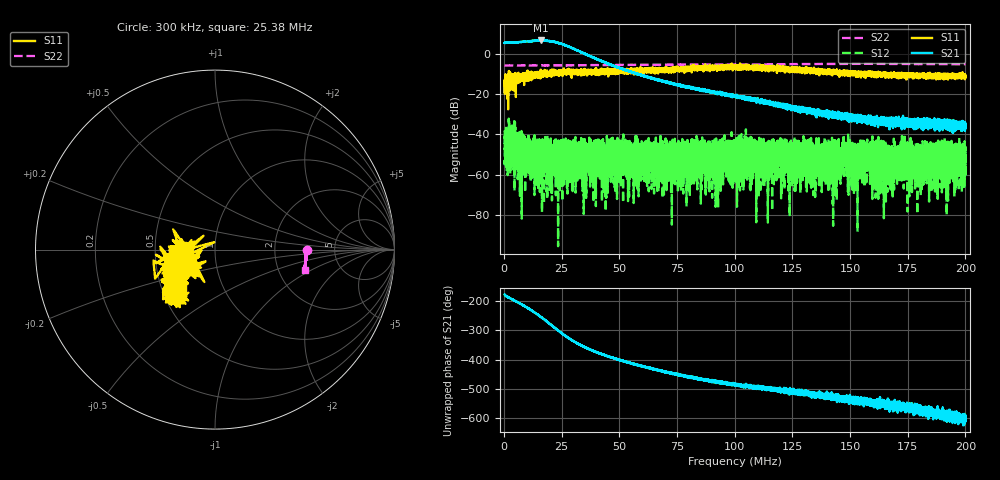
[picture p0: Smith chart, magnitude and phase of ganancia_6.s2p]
# Hz S DB R 50
! CMT, M5065, 19127446, 24.2.4/2
! Date: 11/8/2024 4:51:30 PM
! Data: Format (Calibration Info)
! Freq	S11:dB/Ang(F2)	S21:dB/Ang(F2)	S12:dB/Ang(F2)	S22:dB/Ang(F2)
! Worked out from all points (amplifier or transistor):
!   9000 points, 300 kHz to 200 MHz, reference 50 ohm
!   highest |S21| = 6.5 dB at 15.99 MHz (marker M1)
!   |S21| within 3 dB of that: start of sweep to 28.01 MHz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
!   unconditionally stable (mu >= 1): start of sweep to end of sweep
!   at 33.59 MHz: K = 138.04, MAG = 2.6 dB, |S12| = -53.4 dB
!   at 100.2 MHz: K = 746.80, MAG = -18.5 dB, |S12| = -47.5 dB
!   at 200 MHz: K = 20296.84, MAG = -33.4 dB, |S12| = -60.7 dB
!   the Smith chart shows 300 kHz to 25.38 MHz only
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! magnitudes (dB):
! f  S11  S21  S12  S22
! 300 kHz  -14.7  5.3  -52.7  -5.9
! 1.343 MHz  -14.1  5.4  -43.1  -5.9
! 2.941 MHz  -11.9  5.4  -54.7  -5.9
! 15.99 MHz  -9.4  6.5  -52.8  -5.9
! 33.59 MHz  -8.9  0.7  -53.4  -5.8
! 36.67 MHz  -9.5  -1.0  -44.9  -5.7
! 39 MHz  -8.9  -2.1  -55.5  -5.7
! 41.46 MHz  -8.1  -3.2  -47.5  -5.7
! 43.99 MHz  -8.4  -4.5  -50.6  -5.7
! 66.87 MHz  -8.2  -13.2  -50.1  -5.5
! 100.2 MHz  -6.7  -21.0  -47.5  -5.4
! 105 MHz  -6.5  -22.5  -46.9  -5.4
! 110.2 MHz  -6.7  -23.0  -48.8  -5.4
! 133.4 MHz  -9.2  -27.5  -49.7  -5.2
! 143.5 MHz  -8.8  -30.9  -48.8  -5.1
! 147.3 MHz  -9.9  -31.0  -50.4  -5.1
! 152.7 MHz  -9.4  -31.5  -52.9  -5.1
! 155.1 MHz  -10.4  -31.9  -47.7  -5.1
! 166.7 MHz  -9.9  -34.7  -55.1  -5.1
! 197.4 MHz  -10.9  -34.2  -47.9  -5.3
! 199 MHz  -10.2  -35.3  -48.9  -5.3
! 200 MHz  -11.2  -35.2  -60.7  -5.3
